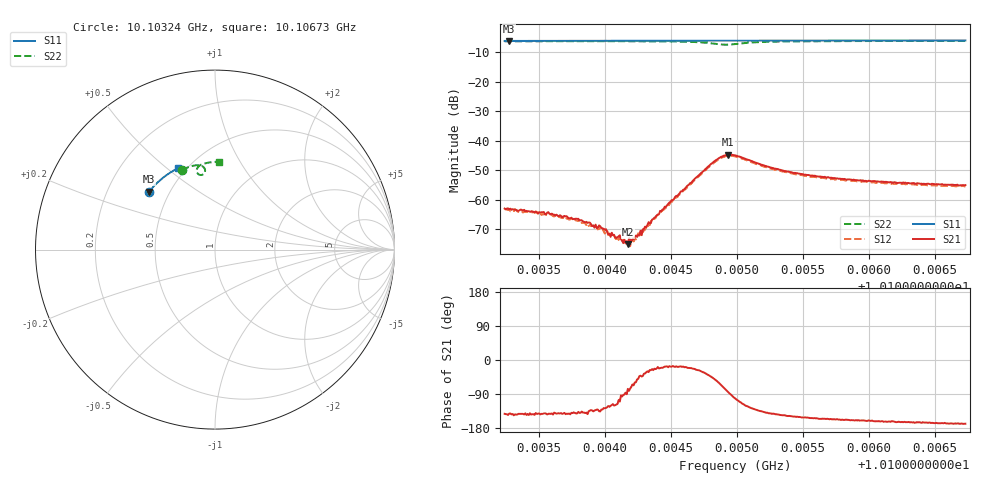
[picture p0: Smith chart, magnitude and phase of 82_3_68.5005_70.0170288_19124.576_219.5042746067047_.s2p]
#  HZ  S  RI  R  50.00
! Rohde & Schwarz Vector Network Analyzer
! Rohde-Schwarz,ZNB20-2Port,1311601062101988,3.16
! Created: UTC 3/20/2024, 4:52:12 PM
! freq[Hz]  re:S11  im:S11  re:S21  im:S21  re:S12  im:S12  re:S22  im:S22
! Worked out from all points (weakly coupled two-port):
!   401 points, 10.10324 GHz to 10.10673 GHz, reference 50 ohm
!   highest |S21| = -44.79 dB at 10.10493 GHz (marker M1); lowest = -75.1 dB at 10.10418 GHz (marker M2)
!   lowest |S11| = -6.2 dB at 10.10328 GHz (marker M3), VSWR 2.91, Z = 19.3 + j16.4 ohm
!   |S11| at or under -10 dB: nowhere
!   |S22| runs from -7.5 to -6.2 dB; largest |S21 - S12| = 0.00058
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1.0103242e10  -0.3687 0.3214  -0.000557 -0.000434  -0.0005 -0.000456  -0.1834 0.4451
1.0103277e10  -0.3673 0.3229  -0.000538 -0.000429  -0.000499 -0.00046  -0.1813 0.4462
1.0103582e10  -0.3556 0.3373  -0.000451 -0.000355  -0.000408 -0.000379  -0.1622 0.4542
1.0103826e10  -0.3455 0.3485  -0.000321 -0.00031  -0.000292 -0.000279  -0.146 0.4603
1.0103922e10  -0.3416 0.3527  -0.000228 -0.000244  -0.000227 -0.000281  -0.1393 0.4622
1.0103975e10  -0.3394 0.355  -0.000216 -0.000253  -0.000151 -0.00026  -0.1354 0.4632
1.0104044e10  -0.3366 0.358  -0.000121 -0.000201  -0.000109 -0.000234  -0.1305 0.4649
1.0104114e10  -0.3334 0.361  -8.4e-05 -0.000234  -5.68e-05 -0.000232  -0.1252 0.466
1.0104158e10  -0.3316 0.363  1.21e-05 -0.000181  2.67e-05 -0.000192  -0.1219 0.4669
1.0104175e10  -0.3309 0.3637  4.23e-05 -0.000171  3.81e-05 -0.000187  -0.1206 0.4673
1.0104201e10  -0.3298 0.3648  6.38e-05 -0.000183  0.000111 -0.000185  -0.1185 0.4677
1.0104263e10  -0.3271 0.3673  0.000187 -0.000171  0.000195 -0.00015  -0.1136 0.4686
1.0104315e10  -0.3248 0.3696  0.000286 -0.00018  0.000302 -0.000163  -0.109 0.4694
1.0104411e10  -0.3205 0.3738  0.000523 -0.000214  0.000559 -0.000146  -0.1002 0.4702
1.0104812e10  -0.3022 0.3897  0.00288 -0.00295  0.00301 -0.00258  -0.0548 0.4402
1.0104882e10  -0.299 0.3921  0.00213 -0.00487  0.00246 -0.0045  -0.0633 0.4212
1.0104934e10  -0.2966 0.3941  0.000592 -0.00573  0.00104 -0.00543  -0.0796 0.4154
1.0104987e10  -0.2943 0.3961  -0.0011 -0.00553  -0.000543 -0.00538  -0.0945 0.4218
1.0105266e10  -0.2812 0.4068  -0.00271 -0.00214  -0.00243 -0.0023  -0.0881 0.4665
1.0105571e10  -0.2661 0.4177  -0.0023 -0.00116  -0.00208 -0.0013  -0.0616 0.4792
1.0106156e10  -0.2363 0.4368  -0.00186 -0.000594  -0.00176 -0.000738  -0.0188 0.4872
1.0106731e10  -0.2056 0.4535  -0.00173 -0.000363  -0.00159 -0.000472  0.02 0.489
